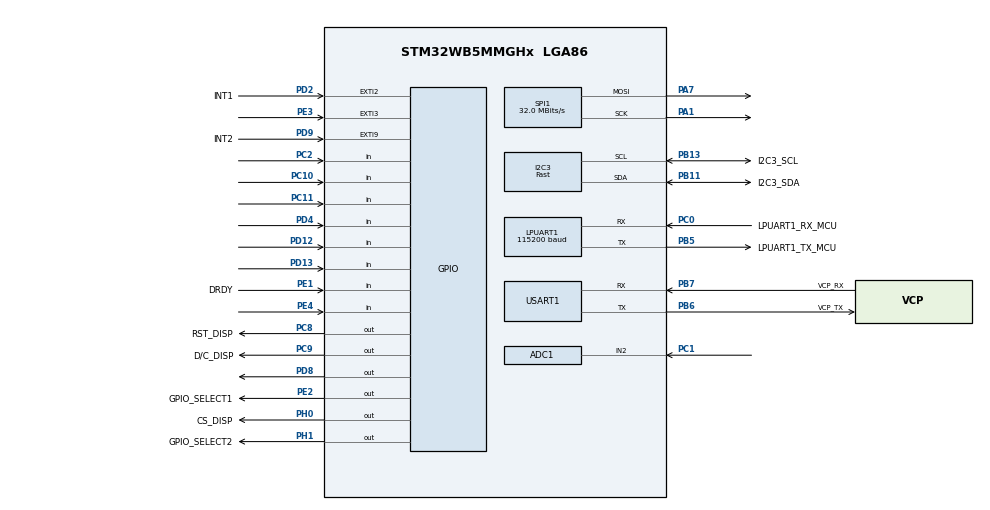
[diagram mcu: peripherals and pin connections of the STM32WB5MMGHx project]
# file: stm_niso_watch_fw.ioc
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ADC1.Channel-0\#ChannelRegularConversion=ADC_CHANNEL_2
ADC1.NbrOfConversionFlag=1
ADC1.OffsetNumber-0\#ChannelRegularConversion=ADC_OFFSET_NONE
ADC1.Rank-0\#ChannelRegularConversion=1
ADC1.SamplingTime-0\#ChannelRegularConversion=ADC_SAMPLETIME_2CYCLES_5
ADC1.master=1
I2C3.I2C_Speed_Mode=I2C_Fast
I2C3.Timing=0x00300617
LPUART1.BaudRate=115200
Mcu.Family=STM32WB
Mcu.Name=STM32WB5MMGHx
Mcu.Package=LGA86
NVIC.EXTI2_IRQn=true\:0\:0\:false\:false\:true\:true\:true\:true
NVIC.PriorityGroup=NVIC_PRIORITYGROUP_4
NVIC.RTC_WKUP_IRQn=true\:0\:0\:false\:false\:true\:true\:true\:true
PA0.Signal=ADCx_IN5
PA1.Mode=TX_Only_Simplex_Unidirect_Master
PA1.Signal=SPI1_SCK
PA10.Signal=I2C1_SDA
PA11.GPIO_Label=USB_N
PA11.Signal=USB_DM
PA12.GPIO_Label=USB_P
PA12.Signal=USB_DP
PA13.GPIO_Label=T_SWDIO
PA13.Signal=SYS_JTMS-SWDIO
PA14.GPIO_Label=T_SWCLK
PA14.Signal=SYS_JTCK-SWCLK
PA15.Signal=S_TIM2_CH1
PA2.Signal=ADCx_IN7
PA3.GPIO_Label=QSPI_BK_SCK
PA3.Signal=QUADSPI_CLK
PA4.Signal=SPI1_NSS
PA5.Signal=ADCx_IN10
PA6.Signal=LPUART1_CTS
PA7.Mode=TX_Only_Simplex_Unidirect_Master
PA7.Signal=SPI1_MOSI
PA8.GPIO_Label=SAI1_CK2
PA8.Signal=SAI1_CK2
PA9.GPIO_Label=SAI1_D2
PA9.Signal=SAI1_D2
PB10.Signal=S_TIM2_CH3
PB11.GPIO_Label=I2C3_SDA
PB11.Mode=I2C
PB11.Signal=I2C3_SDA
PB12.Signal=LPUART1_RTS
PB13.GPIO_Label=I2C3_SCL
PB13.Mode=I2C
PB13.Signal=I2C3_SCL
PB14.Signal=SPI2_MISO
PB15.Signal=SPI2_MOSI
PB3.GPIO_Label=T_SWO
PB3.Signal=SYS_JTDO-SWO
PB4.Signal=SPI1_MISO
PB5.GPIO_Label=LPUART1_TX_MCU
PB5.GPIO_Speed=GPIO_SPEED_FREQ_HIGH
PB5.Mode=Asynchronous
PB5.Signal=LPUART1_TX
PB6.GPIO_Label=VCP_TX
PB6.Mode=Asynchronous
PB6.Signal=USART1_TX
PB7.GPIO_Label=VCP_RX
PB7.Mode=Asynchronous
PB7.Signal=USART1_RX
PB8.Signal=I2C1_SCL
PB9.GPIO_Label=QSPI_BK_IO0
PB9.Signal=QUADSPI_BK1_IO0
PC0.GPIO_Label=LPUART1_RX_MCU
PC0.GPIO_Speed=GPIO_SPEED_FREQ_HIGH
PC0.Mode=Asynchronous
PC0.Signal=LPUART1_RX
PC1.Signal=ADCx_IN2
PC10.Signal=GPIO_Input
PC11.Signal=GPIO_Input
PC12.GPIO_Label=User-B1
PC12.Mode=SYS_WakeUp2
PC12.Signal=SYS_WKUP3
PC13.GPIO_Label=User-B2
PC13.Mode=SYS_WakeUp1
PC13.Signal=SYS_WKUP2
PC2.Signal=GPIO_Input
PC3.Signal=ADCx_IN4
PC4.Signal=ADCx_IN13
PC5.Signal=ADCx_IN14
PC6.GPIO_Label=TSC_G4_IO1
PC6.Signal=TSC_G4_IO1
PC7.GPIO_Label=TSC_G4_IO2
PC7.Signal=TSC_G4_IO2
PC8.GPIO_Label=RST_DISP
PC8.Signal=GPIO_Output
PC9.GPIO_Label=D/C_DISP
PC9.Signal=GPIO_Output
PD0.Signal=SPI2_NSS
PD1.Signal=SPI2_SCK
PD10.GPIO_Label=TSC_G6_IO1
PD10.Signal=TSC_G6_IO1
PD11.GPIO_Label=TSC_G6_IO2
PD11.Signal=TSC_G6_IO2
PD12.Signal=GPIO_Input
PD13.Signal=GPIO_Input
PD14.Signal=S_TIM1_CH1
PD15.Signal=S_TIM1_CH2
PD2.GPIO_Label=INT1
PD2.Signal=GPXTI2
PD3.GPIO_Label=QSPI_BK_NCS
PD3.Signal=QUADSPI_BK1_NCS
PD4.Signal=GPIO_Input
PD5.GPIO_Label=QSPI_BK_IO1
PD5.Signal=QUADSPI_BK1_IO1
PD6.GPIO_Label=QSPI_BK_IO2
PD6.Signal=QUADSPI_BK1_IO2
PD8.Signal=GPIO_Output
PD9.GPIO_Label=INT2
PD9.Signal=GPXTI9
PE0.Signal=S_TIM16_CH1
PE1.GPIO_Label=DRDY
PE1.Signal=GPIO_Input
PE2.GPIO_Label=GPIO_SELECT1
PE2.Signal=GPIO_Output
PE3.Signal=GPXTI3
PE4.Signal=GPIO_Input
PH0.GPIO_Label=CS_DISP
PH0.Signal=GPIO_Output
PH1.GPIO_Label=GPIO_SELECT2
PH1.Signal=GPIO_Output
ProjectManager.HeapSize=0x200
ProjectManager.StackSize=0x400
ProjectManager.TargetToolchain=STM32CubeIDE
RCC.ADCCLockSelection=RCC_ADCCLKSOURCE_SYSCLK
RCC.ADCFreq_Value=64000000
RCC.AHB2CLKDivider=RCC_SYSCLK_DIV2
RCC.AHBFreq_Value=64000000
RCC.APB1CLKDivider=RCC_HCLK_DIV2
RCC.APB1Freq_Value=32000000
RCC.APB1TimFreq_Value=64000000
RCC.APB2Freq_Value=64000000
RCC.APB2TimFreq_Value=64000000
RCC.APB3Freq_Value=16000000
RCC.Cortex2_Div=SYSTICK_CLKSOURCE_HCLK_DIV8
RCC.CortexFreq_Value=64000000
RCC.HCLKFreq_Value=64000000
RCC.HSE_VALUE=32000000
RCC.HSI48_VALUE=48000000
RCC.HSI_VALUE=16000000
RCC.I2C3CLockSelection=RCC_I2C3CLKSOURCE_HSI
RCC.LPUART1CLockSelection=RCC_LPUART1CLKSOURCE_SYSCLK
RCC.PLLN=32
RCC.PLLSAI1N=24
RCC.SYSCLKFreq_VALUE=64000000
RCC.SYSCLKSource=RCC_SYSCLKSOURCE_PLLCLK
RCC.USBFreq_Value=48000000
RCC.VCOOutputFreq_Value=128000000
SH.ADCx_IN10.0=ADC1_IN10
SH.ADCx_IN13.0=ADC1_IN13
SH.ADCx_IN14.0=ADC1_IN14
SH.ADCx_IN2.0=ADC1_IN2,IN2-Single-Ended
SH.ADCx_IN4.0=ADC1_IN4
SH.ADCx_IN5.0=ADC1_IN5
SH.ADCx_IN7.0=ADC1_IN7
SH.S_TIM16_CH1.0=TIM16_CH1
SH.S_TIM1_CH1.0=TIM1_CH1
SH.S_TIM1_CH2.0=TIM1_CH2
SH.S_TIM2_CH1.0=TIM2_CH1
SH.S_TIM2_CH3.0=TIM2_CH3
SPI1.CalculateBaudRate=32.0 MBits/s
SPI1.Direction=SPI_DIRECTION_2LINES
SPI1.Mode=SPI_MODE_MASTER
SPI1.VirtualType=VM_MASTER
USART1.VirtualMode-Asynchronous=VM_ASYNC
VP_MEMORYMAP_VS_MEMORYMAP.Mode=CurAppReg
VP_RCC_V_OSC32_IN.Mode=LSE-External-Clock-Source
VP_RCC_V_OSC_IN.Mode=HSE-External-Clock-Source
VP_RTC_VS_RTC_Activate.Mode=RTC_Enabled
VP_RTC_VS_RTC_Calendar.Mode=RTC_Calendar
VP_RTC_VS_RTC_WakeUp_intern.Mode=WakeUp
board=STM32WB5MM-DK

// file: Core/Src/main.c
/* USER CODE BEGIN Header */
/**
  ******************************************************************************
  * @file           : main.c
  * @brief          : Main program body for the Primary Watch MCU
  ******************************************************************************
  * @attention
  *
  * This version implements a robust master/slave protocol. It initiates
  * communication by sending a "WAKEUP_CMD" to the coprocessor and then
  * waits for its acknowledgement before proceeding. The data packet
  * transmission is now sent in one atomic block for reliability.
  *
  ******************************************************************************
  */
/* USER CODE END Header */
#include "main.h"

/* USER CODE BEGIN Includes */
#include <stdio.h>
#include <string.h>
#include <math.h>
#include "lcd.h"
#include "pic.h"
/* USER CODE END Includes */

/* USER CODE BEGIN PTD */
typedef enum {
    STATE_ACTIVE,
    STATE_COMMUNICATE,
    STATE_SLEEP
} AppState_t;
/* USER CODE END PTD */

/* USER CODE BEGIN PD */
// --- General Timing ---
#define ACTIVE_MODE_DURATION_MS 60000
#define SLEEP_MODE_DURATION_S   60
#define PERIODIC_COMMS_INTERVAL_MS 15000

// --- Thermistor Calculation Constants ---
#define SERIES_RESISTANCE   10000.0f
#define NOMINAL_RESISTANCE  10000.0f
#define NOMINAL_TEMPERATURE 298.15f
#define B_COEFFICIENT       3950.0f
#define ADC_MAX             4095.0f

// --- Fall Detection (ISM330) Constants ---
#define ISM330_I2C_ADDR             0xD6
#define WHO_AM_I_REG                0x0F
#define CTRL1_XL_REG                0x10
#define CTRL10_C_REG                0x19
#define FREE_FALL_REG               0x5D
#define MD1_CFG_REG                 0x5E
#define FUNC_CFG_ACCESS_REG         0x01

// --- Coprocessor Communication Protocol ---
#define WAKEUP_CMD                  0xAA
#define COPRO_TIMEOUT_MS            5000
#define PACKET_START_BYTE           0x7E
#define PACKET_END_BYTE             0x7F
#define ACK_READY                   "ACK_READY"
#define ACK_PACKET_OK               "ACK_PACKET_OK"
#define ACK_HTTP_OK                 "ACK_HTTP_OK"
/* USER CODE END PD */

ADC_HandleTypeDef hadc1;
I2C_HandleTypeDef hi2c3;
UART_HandleTypeDef hlpuart1;
UART_HandleTypeDef huart1;
RTC_HandleTypeDef hrtc;
SPI_HandleTypeDef hspi1;

/* USER CODE BEGIN PV */
volatile uint8_t fall_detected_flag = 0;
volatile float g_temperature_celsius = -99.0f;
AppState_t g_app_state = STATE_ACTIVE;
uint32_t active_mode_start_tick = 0;
uint32_t last_comms_tick = 0;
/* USER CODE END PV */

void SystemClock_Config(void);
void PeriphCommonClock_Config(void);
static void MX_GPIO_Init(void);
static void MX_I2C3_Init(void);
static void MX_SPI1_Init(void);
static void MX_USART1_UART_Init(void);
static void MX_ADC1_Init(void);
static void MX_RTC_Init(void);
static void MX_LPUART1_UART_Init(void);
/* USER CODE BEGIN PFP */
void ISM330_FallDetection_Init(void);
void Update_Display(float temp, int wifi_status);
void Enter_Sleep_Mode(void);
void ReInit_Peripherals_After_Wakeup(void);
void DeInit_Peripherals_For_Sleep(void);
float Read_Temperature(void);
int Communicate_With_Coprocessor(uint8_t* data, uint8_t len);
/* USER CODE END PFP */

/* USER CODE BEGIN 0 */
extern void LCD_Init(void);
extern void LCD_Fill(uint16_t xsta, uint16_t ysta, uint16_t xend, uint16_t yend, uint16_t color);
extern void LCD_StrCenter(uint16_t x, uint16_t y,const char *s, uint16_t fc, uint16_t bc, uint8_t sizey);
extern void LCD_ShowPicture(uint16_t x, uint16_t y, uint16_t length, uint16_t width, const uint8_t pic[]);
/* USER CODE END 0 */

int main(void)
{
  /* USER CODE BEGIN 1 */
  uint8_t sensor_data_packet[10];
  int comms_success = 0;
  /* USER CODE END 1 */

  /* MCU Configuration--------------------------------------------------------*/
  HAL_Init();

  SystemClock_Config();
  PeriphCommonClock_Config();
  MX_GPIO_Init();
  MX_I2C3_Init();
  MX_SPI1_Init();
  MX_USART1_UART_Init();
  MX_ADC1_Init();
  MX_RTC_Init();
  MX_LPUART1_UART_Init();

  /* USER CODE BEGIN 2 */
  printf("\r\n\r\n--- Primary MCU: System Booted ---\r\n");

  if (HAL_ADCEx_Calibration_Start(&hadc1, ADC_SINGLE_ENDED) != HAL_OK)
  {
      Error_Handler();
  }
  printf("[DEBUG] ADC Calibrated.\r\n");

  LCD_Init();
  LCD_Fill(0, 0, 120, 240, BLACK);
  ISM330_FallDetection_Init();

  g_app_state = STATE_ACTIVE;
  active_mode_start_tick = HAL_GetTick();
  last_comms_tick = active_mode_start_tick;
  /* USER CODE END 2 */

  /* Infinite loop */
  while (1)
  {

    /* USER CODE BEGIN 3 */
    switch(g_app_state)
    {
        case STATE_ACTIVE:
            g_temperature_celsius = Read_Temperature();
            Update_Display(g_temperature_celsius, comms_success);

            if (fall_detected_flag) {
                printf("[EVENT] Fall Detected! Preparing to communicate...\r\n");
                g_app_state = STATE_COMMUNICATE;
            }
            else if (HAL_GetTick() - last_comms_tick > PERIODIC_COMMS_INTERVAL_MS) {
                printf("[EVENT] Periodic timer expired! Preparing to communicate...\r\n");
                g_app_state = STATE_COMMUNICATE;
            }
            else if (HAL_GetTick() - active_mode_start_tick > ACTIVE_MODE_DURATION_MS) {
                printf("[SYSTEM] Active time (%lu ms) elapsed. Entering sleep.\r\n", ACTIVE_MODE_DURATION_MS);
                g_app_state = STATE_SLEEP;
            }
            HAL_Delay(1000);
            break;

        case STATE_COMMUNICATE:
            printf("\r\n[STATE] Communication Mode\r\n");
            sensor_data_packet[0] = fall_detected_flag ? 0x01 : 0x00;
            memcpy(&sensor_data_packet[1], &g_temperature_celsius, sizeof(float));
            printf("[COMMS] Packet created: Event=0x%02X, Temp=%.1f\r\n", sensor_data_packet[0], g_temperature_celsius);

            comms_success = Communicate_With_Coprocessor(sensor_data_packet, 5);
            if (comms_success) {
                printf("[COMMS] ✅ Coprocessor communication sequence SUCCESSFUL.\r\n");
            } else {
                printf("[COMMS] ❌ Coprocessor communication sequence FAILED.\r\n");
            }
            Update_Display(g_temperature_celsius, comms_success);

            fall_detected_flag = 0;
            last_comms_tick = HAL_GetTick();
            printf("[SYSTEM] Returning to Active Mode.\r\n");
            g_app_state = STATE_ACTIVE;
            break;

        case STATE_SLEEP:
            printf("\r\n[STATE] Sleep Mode\r\n");
            Enter_Sleep_Mode();

            ReInit_Peripherals_After_Wakeup();

            printf("\r\n[SYSTEM] Wakeup complete. Returning to Active Mode.\r\n");
            comms_success = 0;
            g_app_state = STATE_ACTIVE;
            active_mode_start_tick = HAL_GetTick();
            last_comms_tick = active_mode_start_tick;
            break;

        default:
            g_app_state = STATE_ACTIVE;
            break;
    }
  }
  /* USER CODE END 3 */
}

void SystemClock_Config(void)
{
  RCC_OscInitTypeDef RCC_OscInitStruct = {0};
  RCC_ClkInitTypeDef RCC_ClkInitStruct = {0};
  __HAL_PWR_VOLTAGESCALING_CONFIG(PWR_REGULATOR_VOLTAGE_SCALE1);
  RCC_OscInitStruct.OscillatorType = RCC_OSCILLATORTYPE_HSI|RCC_OSCILLATORTYPE_LSI1
                              |RCC_OSCILLATORTYPE_MSI;
  RCC_OscInitStruct.HSIState = RCC_HSI_ON;
  RCC_OscInitStruct.LSIState = RCC_LSI_ON;
  RCC_OscInitStruct.MSIState = RCC_MSI_ON;
  RCC_OscInitStruct.HSICalibrationValue = RCC_HSICALIBRATION_DEFAULT;
  RCC_OscInitStruct.MSICalibrationValue = RCC_MSICALIBRATION_DEFAULT;
  RCC_OscInitStruct.MSIClockRange = RCC_MSIRANGE_6;
  RCC_OscInitStruct.PLL.PLLState = RCC_PLL_ON;
  RCC_OscInitStruct.PLL.PLLSource = RCC_PLLSOURCE_MSI;
  RCC_OscInitStruct.PLL.PLLM = RCC_PLLM_DIV1;
  RCC_OscInitStruct.PLL.PLLN = 32;
  RCC_OscInitStruct.PLL.PLLP = RCC_PLLP_DIV2;
  RCC_OscInitStruct.PLL.PLLR = RCC_PLLR_DIV2;
  RCC_OscInitStruct.PLL.PLLQ = RCC_PLLQ_DIV2;
  if (HAL_RCC_OscConfig(&RCC_OscInitStruct) != HAL_OK)
  {
    Error_Handler();
  }
  RCC_ClkInitStruct.ClockType = RCC_CLOCKTYPE_HCLK4|RCC_CLOCKTYPE_HCLK2
                              |RCC_CLOCKTYPE_HCLK|RCC_CLOCKTYPE_SYSCLK
                              |RCC_CLOCKTYPE_PCLK1|RCC_CLOCKTYPE_PCLK2;
  RCC_ClkInitStruct.SYSCLKSource = RCC_SYSCLKSOURCE_PLLCLK;
  RCC_ClkInitStruct.AHBCLKDivider = RCC_SYSCLK_DIV1;
  RCC_ClkInitStruct.APB1CLKDivider = RCC_HCLK_DIV2;
  RCC_ClkInitStruct.APB2CLKDivider = RCC_HCLK_DIV1;
  RCC_ClkInitStruct.AHBCLK2Divider = RCC_SYSCLK_DIV2;
  RCC_ClkInitStruct.AHBCLK4Divider = RCC_SYSCLK_DIV1;
  if (HAL_RCC_ClockConfig(&RCC_ClkInitStruct, FLASH_LATENCY_3) != HAL_OK)
  {
    Error_Handler();
  }
}

void PeriphCommonClock_Config(void)
{
  RCC_PeriphCLKInitTypeDef PeriphClkInitStruct = {0};
  PeriphClkInitStruct.PeriphClockSelection = RCC_PERIPHCLK_SMPS|RCC_PERIPHCLK_USART1
                              |RCC_PERIPHCLK_LPUART1|RCC_PERIPHCLK_I2C3
                              |RCC_PERIPHCLK_ADC;
  PeriphClkInitStruct.Usart1ClockSelection = RCC_USART1CLKSOURCE_PCLK2;
  PeriphClkInitStruct.Lpuart1ClockSelection = RCC_LPUART1CLKSOURCE_PCLK1;
  PeriphClkInitStruct.I2c3ClockSelection = RCC_I2C3CLKSOURCE_PCLK1;
  PeriphClkInitStruct.AdcClockSelection = RCC_ADCCLKSOURCE_PLLSAI1;
  PeriphClkInitStruct.SmpsClockSelection = RCC_SMPSCLKSOURCE_HSI;
  PeriphClkInitStruct.SmpsDivSelection = RCC_SMPSCLKDIV_RANGE1;
  PeriphClkInitStruct.PLLSAI1.PLLN = 16;
  PeriphClkInitStruct.PLLSAI1.PLLP = RCC_PLLP_DIV2;
  PeriphClkInitStruct.PLLSAI1.PLLQ = RCC_PLLQ_DIV2;
  PeriphClkInitStruct.PLLSAI1.PLLR = RCC_PLLR_DIV2;
  PeriphClkInitStruct.PLLSAI1.PLLSAI1ClockOut = RCC_PLLSAI1_ADCCLK;
  if (HAL_RCCEx_PeriphCLKConfig(&PeriphClkInitStruct) != HAL_OK)
  {
    Error_Handler();
  }
}

static void MX_ADC1_Init(void)
{
  ADC_ChannelConfTypeDef sConfig = {0};
  hadc1.Instance = ADC1;
  hadc1.Init.ClockPrescaler = ADC_CLOCK_ASYNC_DIV1;
  hadc1.Init.Resolution = ADC_RESOLUTION_12B;
  hadc1.Init.DataAlign = ADC_DATAALIGN_RIGHT;
  hadc1.Init.ScanConvMode = ADC_SCAN_DISABLE;
  hadc1.Init.EOCSelection = ADC_EOC_SINGLE_CONV;
  hadc1.Init.LowPowerAutoWait = DISABLE;
  hadc1.Init.ContinuousConvMode = DISABLE;
  hadc1.Init.NbrOfConversion = 1;
  hadc1.Init.ExternalTrigConv = ADC_SOFTWARE_START;
  hadc1.Init.ExternalTrigConvEdge = ADC_EXTERNALTRIGCONVEDGE_NONE;
  hadc1.Init.DMAContinuousRequests = DISABLE;
  hadc1.Init.Overrun = ADC_OVR_DATA_PRESERVED;
  hadc1.Init.OversamplingMode = DISABLE;
  if (HAL_ADC_Init(&hadc1) != HAL_OK)
  {
    Error_Handler();
  }
  sConfig.Channel = ADC_CHANNEL_2;
  sConfig.Rank = ADC_REGULAR_RANK_1;
  sConfig.SamplingTime = ADC_SAMPLETIME_2CYCLES_5;
  sConfig.SingleDiff = ADC_SINGLE_ENDED;
  sConfig.OffsetNumber = ADC_OFFSET_NONE;
  sConfig.Offset = 0;
  if (HAL_ADC_ConfigChannel(&hadc1, &sConfig) != HAL_OK)
  {
    Error_Handler();
  }
}

static void MX_I2C3_Init(void)
{
  hi2c3.Instance = I2C3;
  hi2c3.Init.Timing = 0x00702991;
  hi2c3.Init.OwnAddress1 = 0;
  hi2c3.Init.AddressingMode = I2C_ADDRESSINGMODE_7BIT;
  hi2c3.Init.DualAddressMode = I2C_DUALADDRESS_DISABLE;
  hi2c3.Init.OwnAddress2 = 0;
  hi2c3.Init.OwnAddress2Masks = I2C_OA2_NOMASK;
  hi2c3.Init.GeneralCallMode = I2C_GENERALCALL_DISABLE;
  hi2c3.Init.NoStretchMode = I2C_NOSTRETCH_DISABLE;
  if (HAL_I2C_Init(&hi2c3) != HAL_OK)
  {
    Error_Handler();
  }
  if (HAL_I2CEx_ConfigAnalogFilter(&hi2c3, I2C_ANALOGFILTER_ENABLE) != HAL_OK)
  {
    Error_Handler();
  }
  if (HAL_I2CEx_ConfigDigitalFilter(&hi2c3, 0) != HAL_OK)
  {
    Error_Handler();
  }
}

static void MX_LPUART1_UART_Init(void)
{
  hlpuart1.Instance = LPUART1;
  hlpuart1.Init.BaudRate = 115200;
  hlpuart1.Init.WordLength = UART_WORDLENGTH_8B;
  hlpuart1.Init.StopBits = UART_STOPBITS_1;
  hlpuart1.Init.Parity = UART_PARITY_NONE;
  hlpuart1.Init.Mode = UART_MODE_TX_RX;
  hlpuart1.Init.HwFlowCtl = UART_HWCONTROL_NONE;
  hlpuart1.Init.OneBitSampling = UART_ONE_BIT_SAMPLE_DISABLE;
  hlpuart1.AdvancedInit.AdvFeatureInit = UART_ADVFEATURE_NO_INIT;
  if (HAL_UART_Init(&hlpuart1) != HAL_OK)
  {
    Error_Handler();
  }
}

static void MX_RTC_Init(void)
{
  RTC_TimeTypeDef sTime = {0};
  RTC_DateTypeDef sDate = {0};
  hrtc.Instance = RTC;
  hrtc.Init.HourFormat = RTC_HOURFORMAT_24;
  hrtc.Init.AsynchPrediv = 127;
  hrtc.Init.SynchPrediv = 255;
  hrtc.Init.OutPut = RTC_OUTPUT_DISABLE;
  hrtc.Init.OutPutPolarity = RTC_OUTPUT_POLARITY_HIGH;
  hrtc.Init.OutPutType = RTC_OUTPUT_TYPE_OPENDRAIN;
  hrtc.Init.OutPutRemap = RTC_OUTPUT_REMAP_NONE;
  if (HAL_RTC_Init(&hrtc) != HAL_OK)
  {
    Error_Handler();
  }
  sTime.Hours = 0x0;
  sTime.Minutes = 0x0;
  sTime.Seconds = 0x0;
  sTime.SubSeconds = 0x0;
  sTime.DayLightSaving = RTC_DAYLIGHTSAVING_NONE;
  sTime.StoreOperation = RTC_STOREOPERATION_RESET;
  if (HAL_RTC_SetTime(&hrtc, &sTime, RTC_FORMAT_BCD) != HAL_OK)
  {
    Error_Handler();
  }
  sDate.WeekDay = RTC_WEEKDAY_MONDAY;
  sDate.Month = RTC_MONTH_JANUARY;
  sDate.Date = 0x1;
  sDate.Year = 0x0;
  if (HAL_RTC_SetDate(&hrtc, &sDate, RTC_FORMAT_BCD) != HAL_OK)
  {
    Error_Handler();
  }
  HAL_RTCEx_DeactivateWakeUpTimer(&hrtc);
}

static void MX_SPI1_Init(void)
{
  hspi1.Instance = SPI1;
  hspi1.Init.Mode = SPI_MODE_MASTER;
  hspi1.Init.Direction = SPI_DIRECTION_2LINES;
  hspi1.Init.DataSize = SPI_DATASIZE_8BIT;
  hspi1.Init.CLKPolarity = SPI_POLARITY_LOW;
  hspi1.Init.CLKPhase = SPI_PHASE_1EDGE;
  hspi1.Init.NSS = SPI_NSS_SOFT;
  hspi1.Init.BaudRatePrescaler = SPI_BAUDRATEPRESCALER_8;
  hspi1.Init.FirstBit = SPI_FIRSTBIT_MSB;
  hspi1.Init.TIMode = SPI_TIMODE_DISABLE;
  hspi1.Init.CRCCalculation = SPI_CRCCALCULATION_DISABLE;
  hspi1.Init.CRCPolynomial = 7;
  hspi1.Init.CRCLength = SPI_CRC_LENGTH_DATASIZE;
  hspi1.Init.NSSPMode = SPI_NSS_PULSE_DISABLE;
  if (HAL_SPI_Init(&hspi1) != HAL_OK)
  {
    Error_Handler();
  }
}

static void MX_USART1_UART_Init(void)
{
  huart1.Instance = USART1;
  huart1.Init.BaudRate = 115200;
  huart1.Init.WordLength = UART_WORDLENGTH_8B;
  huart1.Init.StopBits = UART_STOPBITS_1;
  huart1.Init.Parity = UART_PARITY_NONE;
  huart1.Init.Mode = UART_MODE_TX_RX;
  huart1.Init.HwFlowCtl = UART_HWCONTROL_NONE;
  huart1.Init.OverSampling = UART_OVERSAMPLING_16;
  huart1.Init.OneBitSampling = UART_ONE_BIT_SAMPLE_DISABLE;
  huart1.AdvancedInit.AdvFeatureInit = UART_ADVFEATURE_NO_INIT;
  if (HAL_UART_Init(&huart1) != HAL_OK)
  {
    Error_Handler();
  }
}

static void MX_GPIO_Init(void)
{
  GPIO_InitTypeDef GPIO_InitStruct = {0};
  __HAL_RCC_GPIOC_CLK_ENABLE();
  __HAL_RCC_GPIOA_CLK_ENABLE();
  __HAL_RCC_GPIOB_CLK_ENABLE();
  __HAL_RCC_GPIOD_CLK_ENABLE();
  __HAL_RCC_GPIOH_CLK_ENABLE();

  HAL_GPIO_WritePin(GPIOH, CS_DISP_Pin, GPIO_PIN_SET);
  HAL_GPIO_WritePin(GPIOC, D_C_DISP_Pin|RST_DISP_Pin, GPIO_PIN_RESET);

  GPIO_InitStruct.Pin = D_C_DISP_Pin|RST_DISP_Pin;
  GPIO_InitStruct.Mode = GPIO_MODE_OUTPUT_PP;
  GPIO_InitStruct.Pull = GPIO_NOPULL;
  GPIO_InitStruct.Speed = GPIO_SPEED_FREQ_LOW;
  HAL_GPIO_Init(GPIOC, &GPIO_InitStruct);

  GPIO_InitStruct.Pin = CS_DISP_Pin;
  GPIO_InitStruct.Mode = GPIO_MODE_OUTPUT_PP;
  GPIO_InitStruct.Pull = GPIO_NOPULL;
  GPIO_InitStruct.Speed = GPIO_SPEED_FREQ_HIGH;
  HAL_GPIO_Init(CS_DISP_GPIO_Port, &GPIO_InitStruct);

  GPIO_InitStruct.Pin = INT1_Pin;
  GPIO_InitStruct.Mode = GPIO_MODE_IT_RISING;
  GPIO_InitStruct.Pull = GPIO_NOPULL;
  HAL_GPIO_Init(GPIOD, &GPIO_InitStruct);

  HAL_NVIC_SetPriority(EXTI2_IRQn, 0, 0);
  HAL_NVIC_EnableIRQ(EXTI2_IRQn);
}

/* USER CODE BEGIN 4 */
#ifdef __GNUC__
int _write(int file, char *ptr, int len)
{
  (void)file;
  HAL_UART_Transmit(&huart1, (uint8_t*)ptr, len, HAL_MAX_DELAY);
  return len;
}
#endif

int Communicate_With_Coprocessor(uint8_t* data, uint8_t len)
{
    uint8_t rx_buffer[32] = {0};
    uint8_t packet_buffer[32];
    HAL_StatusTypeDef status;
    const uint8_t wakeup_cmd = WAKEUP_CMD;

    printf("\r\n--- Starting Coprocessor Handshake ---\r\n");

    // Step 1: Send the wakeup command
    printf("[STEP 1] Sending Wakeup Command (0x%02X)...\r\n", wakeup_cmd);
    HAL_UART_Transmit(&hlpuart1, &wakeup_cmd, 1, 200);

    // Step 2: Wait for the "ready" acknowledgement
    printf("[STEP 2] Waiting for '%s' from coprocessor...\r\n", ACK_READY);
    status = HAL_UART_Receive(&hlpuart1, rx_buffer, strlen(ACK_READY), COPRO_TIMEOUT_MS);
    if (status != HAL_OK) {
        printf("   [FAIL] Timeout waiting for ready signal. Status: %d\r\n", status);
        return 0;
    }
    if (strncmp((char*)rx_buffer, ACK_READY, strlen(ACK_READY)) != 0) {
        printf("   [FAIL] Invalid response received. Expected '%s', got '%.*s'.\r\n", ACK_READY, (int)strlen(ACK_READY), rx_buffer);
        return 0;
    }
    printf("   [OK] Coprocessor is ready. Received '%s'.\r\n", ACK_READY);

    // Step 3: Construct and send the entire data packet in one go
    uint8_t packet_len = len + 3; // Start + Len Byte + Payload + End
    packet_buffer[0] = PACKET_START_BYTE;
    packet_buffer[1] = len;
    memcpy(&packet_buffer[2], data, len);
    packet_buffer[2 + len] = PACKET_END_BYTE;

    printf("[STEP 3] Sending data packet (%d total bytes)...\r\n", packet_len);
    HAL_UART_Transmit(&hlpuart1, packet_buffer, packet_len, 500);

    // Step 4: Wait for packet acknowledgement
    memset(rx_buffer, 0, sizeof(rx_buffer));
    printf("[STEP 4] Waiting for '%s' confirmation...\r\n", ACK_PACKET_OK);
    status = HAL_UART_Receive(&hlpuart1, rx_buffer, strlen(ACK_PACKET_OK), COPRO_TIMEOUT_MS);
    if (status != HAL_OK) {
        printf("   [FAIL] Timeout waiting for packet ACK. Status: %d\r\n", status);
        return 0;
    }
     if (strncmp((char*)rx_buffer, ACK_PACKET_OK, strlen(ACK_PACKET_OK)) != 0) {
        printf("   [FAIL] Invalid response. Expected '%s', got '%.*s'.\r\n", ACK_PACKET_OK, (int)strlen(ACK_PACKET_OK), rx_buffer);
        return 0;
    }
    printf("   [OK] Received '%s'.\r\n", ACK_PACKET_OK);

    // Step 5: Wait for final HTTP acknowledgement
    memset(rx_buffer, 0, sizeof(rx_buffer));
    printf("[STEP 5] Waiting for final HTTP confirmation '%s'...\r\n", ACK_HTTP_OK);
    status = HAL_UART_Receive(&hlpuart1, rx_buffer, strlen(ACK_HTTP_OK), COPRO_TIMEOUT_MS * 3);
    if (status != HAL_OK) {
        printf("   [FAIL] Timeout waiting for HTTP ACK. Status: %d\r\n", status);
        return 0;
    }
    if (strncmp((char*)rx_buffer, ACK_HTTP_OK, strlen(ACK_HTTP_OK)) != 0) {
        printf("   [FAIL] Invalid final response. Expected '%s', got '%.*s'.\n", ACK_HTTP_OK, (int)strlen(ACK_HTTP_OK), rx_buffer);
        return 0;
    }
    printf("   [OK] Received '%s'. Handshake complete.\r\n", ACK_HTTP_OK);
    return 1;
}

float Read_Temperature(void)
{
    float temp_c = -99.0f;
    uint32_t adc_value = 0;
    printf("[SENSOR] Reading temperature...\r\n");
    HAL_ADC_Start(&hadc1);
    if (HAL_ADC_PollForConversion(&hadc1, 100) == HAL_OK)
    {
         adc_value = HAL_ADC_GetValue(&hadc1);
         if (adc_value > 10 && adc_value < (ADC_MAX - 10)) {
             float thermistor_resistance = SERIES_RESISTANCE * (adc_value / (ADC_MAX - (float)adc_value));
             float steinhart = logf(thermistor_resistance / NOMINAL_RESISTANCE) / B_COEFFICIENT;
             steinhart += 1.0f / NOMINAL_TEMPERATURE;
             temp_c = (1.0f / steinhart) - 273.15f;
             printf("   [OK] Temp: %.2f C (Raw ADC: %lu)\r\n", temp_c, adc_value);
         } else {
             printf("   [FAIL] ADC value out of range: %lu\r\n", adc_value);
         }
    } else {
        printf("   [FAIL] ADC Poll for conversion failed.\r\n");
    }
    HAL_ADC_Stop(&hadc1);
    return temp_c;
}

void Enter_Sleep_Mode(void) {
    printf("[SYSTEM] Preparing to enter STOP2 mode for %d seconds.\r\n", SLEEP_MODE_DURATION_S);
    LCD_Fill(0, 0, 120, 240, BLACK);
    LCD_StrCenter(0, 110, "Sleeping...", WHITE, BLACK, 16);
    HAL_Delay(100);
    DeInit_Peripherals_For_Sleep();
    printf("[SYSTEM] Setting RTC Wakeup Timer.\r\n");
    HAL_RTCEx_DeactivateWakeUpTimer(&hrtc);
    if (HAL_RTCEx_SetWakeUpTimer_IT(&hrtc, SLEEP_MODE_DURATION_S, RTC_WAKEUPCLOCK_CK_SPRE_16BITS) != HAL_OK)
    {
        Error_Handler();
    }
    printf("[SYSTEM] Entering STOP2 Mode now. Bye!\r\n\r\n");
    HAL_PWREx_EnterSTOP2Mode(PWR_STOPENTRY_WFI);
}

void DeInit_Peripherals_For_Sleep(void)
{
    printf("[DEBUG] De-initializing peripherals for sleep...\r\n");
    HAL_SPI_DeInit(&hspi1);
    HAL_I2C_DeInit(&hi2c3);
    HAL_ADC_DeInit(&hadc1);
    HAL_UART_DeInit(&huart1);
    HAL_UART_DeInit(&hlpuart1);
    GPIO_InitTypeDef GPIO_InitStruct = {0};
    GPIO_InitStruct.Mode = GPIO_MODE_ANALOG;
    GPIO_InitStruct.Pull = GPIO_NOPULL;
    __HAL_RCC_GPIOA_CLK_ENABLE();
    __HAL_RCC_GPIOB_CLK_ENABLE();
    __HAL_RCC_GPIOC_CLK_ENABLE();
    __HAL_RCC_GPIOD_CLK_ENABLE();
    __HAL_RCC_GPIOE_CLK_ENABLE();
    __HAL_RCC_GPIOH_CLK_ENABLE();
    GPIO_InitStruct.Pin = GPIO_PIN_All;
    HAL_GPIO_Init(GPIOA, &GPIO_InitStruct);
    HAL_GPIO_Init(GPIOB, &GPIO_InitStruct);
    HAL_GPIO_Init(GPIOC, &GPIO_InitStruct);
    HAL_GPIO_Init(GPIOD, &GPIO_InitStruct);
    HAL_GPIO_Init(GPIOE, &GPIO_InitStruct);
    HAL_GPIO_Init(GPIOH, &GPIO_InitStruct);
    __HAL_RCC_GPIOA_CLK_DISABLE();
    __HAL_RCC_GPIOB_CLK_DISABLE();
    __HAL_RCC_GPIOC_CLK_DISABLE();
    __HAL_RCC_GPIOD_CLK_DISABLE();
    __HAL_RCC_GPIOE_CLK_DISABLE();
    __HAL_RCC_GPIOH_CLK_DISABLE();
}

void ReInit_Peripherals_After_Wakeup(void)
{
    printf("[DEBUG] Re-initializing system after wake-up...\r\n");
    SystemClock_Config();
    PeriphCommonClock_Config();
    MX_GPIO_Init();
    MX_I2C3_Init();
    MX_SPI1_Init();
    MX_LPUART1_UART_Init();
    MX_USART1_UART_Init();
    MX_ADC1_Init();
    MX_RTC_Init();
    if (HAL_ADCEx_Calibration_Start(&hadc1, ADC_SINGLE_ENDED) != HAL_OK)
    {
        Error_Handler();
    }
    printf("[DEBUG] ADC Re-calibrated.\r\n");
    LCD_Init();
    ISM330_FallDetection_Init();
}

void Update_Display(float temp, int wifi_status) {
    char temp_str[20];
    LCD_Fill(0, 0, 120, 240, BLACK);
    LCD_ShowPicture(20, 0, 70, 240, fun_image_50x50);
    if (temp > -99.0f) {
        sprintf(temp_str, "%.1f C", temp);
    } else {
        sprintf(temp_str, "--.- C");
    }
    LCD_StrCenter(0, 220, temp_str, WHITE, BLACK, 16);
    if (wifi_status) {
        LCD_ShowPicture(90, 210, 25, 25, wifi);
    } else {
        LCD_ShowPicture(90, 210, 25, 25, no_wifi);
    }
}

void ISM330_FallDetection_Init(void) {
  uint8_t val = 0;
  printf("[SENSOR] Initializing ISM330 Fall Detection...\r\n");
  if(HAL_I2C_Mem_Read(&hi2c3, ISM330_I2C_ADDR, WHO_AM_I_REG, 1, &val, 1, 100) != HAL_OK || val != 0x6B) {
      printf("   [FAIL] ISM330 Not Found! WHO_AM_I = 0x%02X\r\n", val);
      Error_Handler();
  }
  printf("   [OK] ISM330 Found.\r\n");
  val = 0x80; HAL_I2C_Mem_Write(&hi2c3, ISM330_I2C_ADDR, FUNC_CFG_ACCESS_REG, 1, &val, 1, 100);
  val = 0x60; HAL_I2C_Mem_Write(&hi2c3, ISM330_I2C_ADDR, CTRL1_XL_REG, 1, &val, 1, 100);
  val = 0x01; HAL_I2C_Mem_Write(&hi2c3, ISM330_I2C_ADDR, CTRL10_C_REG, 1, &val, 1, 100);
  val = 0x33; HAL_I2C_Mem_Write(&hi2c3, ISM330_I2C_ADDR, FREE_FALL_REG, 1, &val, 1, 100);
  val = 0x08; HAL_I2C_Mem_Write(&hi2c3, ISM330_I2C_ADDR, MD1_CFG_REG, 1, &val, 1, 100);
  val = 0x00; HAL_I2C_Mem_Write(&hi2c3, ISM330_I2C_ADDR, FUNC_CFG_ACCESS_REG, 1, &val, 1, 100);
  printf("   [OK] ISM330 Configured.\r\n");
}

void HAL_GPIO_EXTI_Callback(uint16_t GPIO_Pin)
{
  if(GPIO_Pin == INT1_Pin)
  {
    fall_detected_flag = 1;
  }
}

void HAL_RTCEx_WakeUpTimerEventCallback(RTC_HandleTypeDef *hrtc)
{
  printf("[INTERRUPT] RTC Wake-up event received.\r\n");
}
/* USER CODE END 4 */

void Error_Handler(void)
{
  /* USER CODE BEGIN Error_Handler_Debug */
  printf("---!!! PRIMARY MCU SYSTEM ERROR !!!---\r\n");
  __disable_irq();
  while (1)
  {
  }
  /* USER CODE END Error_Handler_Debug */
}
